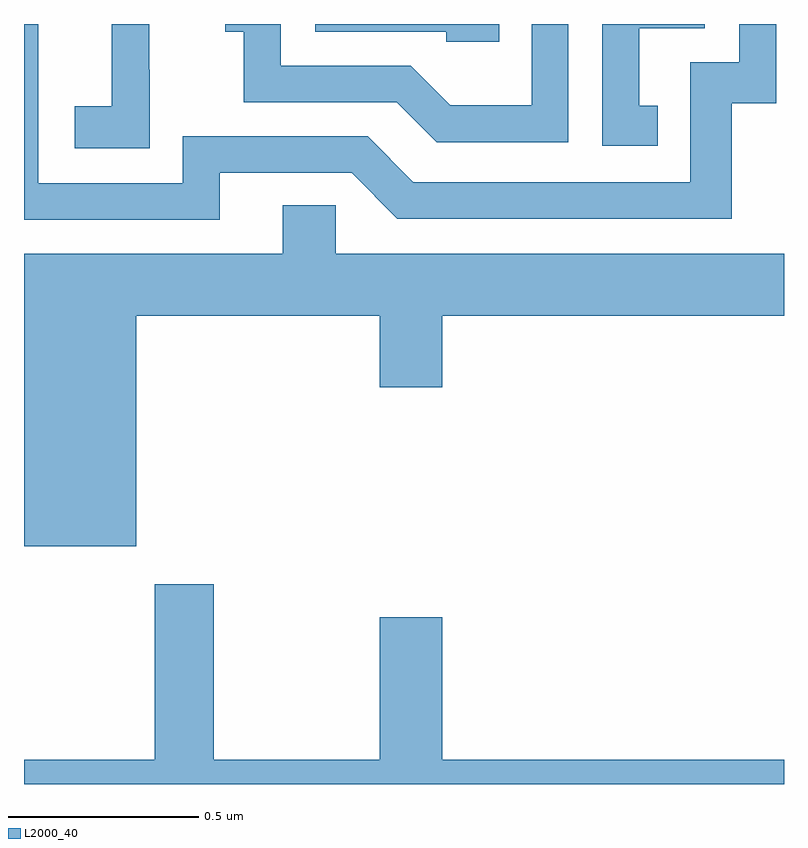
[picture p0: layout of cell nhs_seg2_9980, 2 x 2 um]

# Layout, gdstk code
import gdstk
lib = gdstk.Library(unit=1e-6, precision=1e-09)
def P(c, l, *ps):  # polygons
    for p in ps: c.add(gdstk.Polygon(p, *l))
L2000_40 = (2000, 40)

nhs_seg2_9980 = lib.new_cell('nhs_seg2_9980')
P(nhs_seg2_9980, L2000_40, [(237.668,585.585),(237.619,585.585),(237.619,585.789),(237.792,585.789),(237.792,585.8),(237.522,585.8),(237.522,585.48),(237.668,585.48)],
  [(236.515,585.408),(236.862,585.408),(236.982,585.288),(237.862,585.288),(237.862,585.591),(237.98,585.591),(237.98,585.8),(237.882,585.8),(237.882,585.699),(237.753,585.699),(237.753,585.384),(237.024,585.384),(236.904,585.504),(236.418,585.504),(236.418,585.381),(236.037,585.381),(236.037,585.8),(236,585.8),(236,585.285),(236.515,585.285)],
  [(237.432,585.8),(237.336,585.8),(237.336,585.586),(237.122,585.586),(237.018,585.69),(236.676,585.69),(236.676,585.8),(236.529,585.8),(236.529,585.779),(236.578,585.779),(236.578,585.594),(236.981,585.594),(237.086,585.489),(237.432,585.489)],
  [(236.331,585.679),(236.33,585.679),(236.33,585.8),(236.231,585.8),(236.231,585.583),(236.133,585.583),(236.133,585.473),(236.331,585.473)],
  [(237.251,585.8),(236.766,585.8),(236.766,585.78),(237.111,585.78),(237.111,585.753),(237.251,585.753)],
  [(236.296,585.032),(236.936,585.032),(236.936,584.844),(237.1,584.844),(237.1,585.032),(238,585.032),(238,585.196),(236.82,585.196),(236.82,585.323),(236.681,585.323),(236.681,585.196),(236,585.196),(236,584.426),(236.296,584.426)],
  [(238,583.864),(237.1,583.864),(237.1,584.239),(236.936,584.239),(236.936,583.864),(236.499,583.864),(236.499,584.326),(236.344,584.326),(236.344,583.864),(236,583.864),(236,583.8),(238,583.8)])

lib.write_gds('nhs_seg2_9980.gds')
